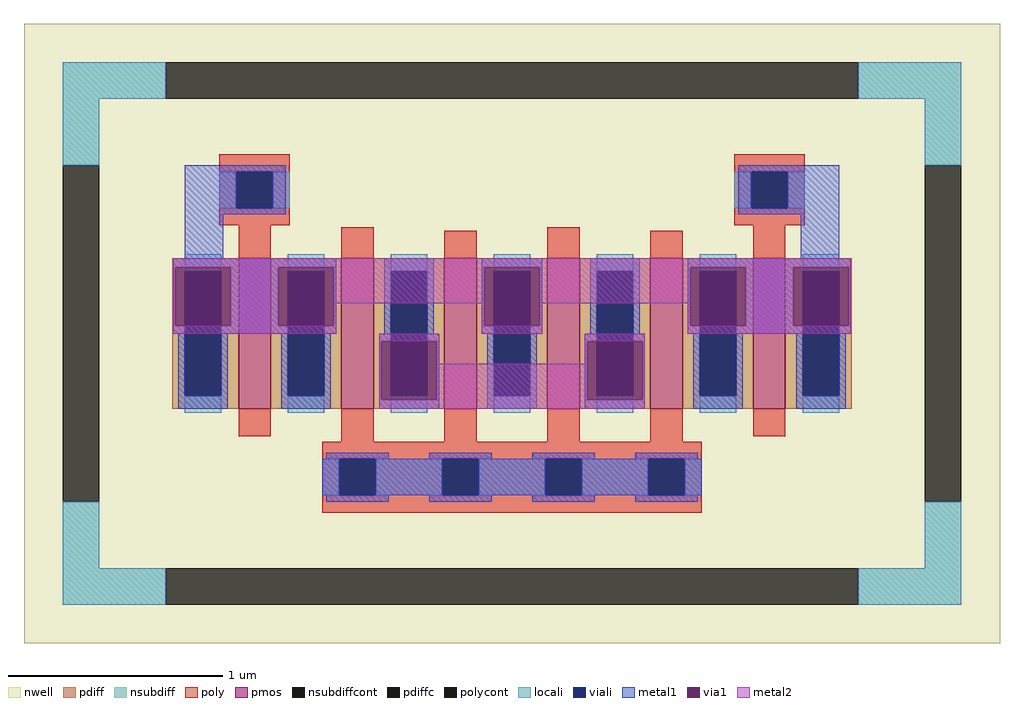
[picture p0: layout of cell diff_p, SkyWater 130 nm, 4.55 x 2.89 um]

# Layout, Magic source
magic
tech sky130A
magscale 1 2
<< nwell >>
rect -455 -289 455 289
<< pmos >>
rect -255 -70 -225 70
rect -159 -70 -129 70
rect -63 -70 -33 70
rect 33 -70 63 70
rect 129 -70 159 70
rect 225 -70 255 70
<< pdiff >>
rect -317 58 -255 70
rect -317 -58 -305 58
rect -271 -58 -255 58
rect -317 -70 -255 -58
rect -225 58 -159 70
rect -225 -58 -209 58
rect -175 -58 -159 58
rect -225 -70 -159 -58
rect -129 58 -63 70
rect -129 -58 -113 58
rect -79 -58 -63 58
rect -129 -70 -63 -58
rect -33 58 33 70
rect -33 -58 -17 58
rect 17 -58 33 58
rect -33 -70 33 -58
rect 63 58 129 70
rect 63 -58 79 58
rect 113 -58 129 58
rect 63 -70 129 -58
rect 159 58 225 70
rect 159 -58 175 58
rect 209 -58 225 58
rect 159 -70 225 -58
rect 255 58 317 70
rect 255 -58 271 58
rect 305 -58 317 58
rect 255 -70 317 -58
<< pdiffc >>
rect -305 -58 -271 58
rect -209 -58 -175 58
rect -113 -58 -79 58
rect -17 -58 17 58
rect 79 -58 113 58
rect 175 -58 209 58
rect 271 -58 305 58
<< nsubdiff >>
rect -419 219 -323 253
rect 323 219 419 253
rect -419 157 -385 219
rect 385 157 419 219
rect -419 -219 -385 -157
rect 385 -219 419 -157
rect -419 -253 -323 -219
rect 323 -253 419 -219
<< nsubdiffcont >>
rect -323 219 323 253
rect -419 -157 -385 157
rect 385 -157 419 157
rect -323 -253 323 -219
<< poly >>
rect -273 151 -207 167
rect -273 117 -257 151
rect -223 117 -207 151
rect -273 101 -207 117
rect 207 151 273 167
rect 207 117 223 151
rect 257 117 273 151
rect 207 101 273 117
rect -255 70 -225 101
rect -159 70 -129 99
rect -63 70 -33 96
rect 33 70 63 99
rect 129 70 159 96
rect 225 70 255 101
rect -255 -96 -225 -70
rect -159 -101 -129 -70
rect -63 -101 -33 -70
rect 33 -101 63 -70
rect 129 -101 159 -70
rect 225 -96 255 -70
rect -177 -117 177 -101
rect -177 -151 -161 -117
rect -127 -151 -65 -117
rect -31 -151 31 -117
rect 65 -151 127 -117
rect 161 -151 177 -117
rect -177 -167 177 -151
<< polycont >>
rect -257 117 -223 151
rect 223 117 257 151
rect -161 -151 -127 -117
rect -65 -151 -31 -117
rect 31 -151 65 -117
rect 127 -151 161 -117
<< locali >>
rect -419 219 -323 253
rect 323 219 419 253
rect -419 157 -385 219
rect 385 157 419 219
rect -273 117 -257 151
rect -223 117 -207 151
rect 207 117 223 151
rect 257 117 273 151
rect -305 58 -271 74
rect -305 -74 -271 -58
rect -209 58 -175 74
rect -209 -74 -175 -58
rect -113 58 -79 74
rect -113 -74 -79 -58
rect -17 58 17 74
rect -17 -74 17 -58
rect 79 58 113 74
rect 79 -74 113 -58
rect 175 58 209 74
rect 175 -74 209 -58
rect 271 58 305 74
rect 271 -74 305 -58
rect -177 -151 -161 -117
rect -127 -151 -65 -117
rect -31 -151 31 -117
rect 65 -151 127 -117
rect 161 -151 177 -117
rect -419 -219 -385 -157
rect 385 -219 419 -157
rect -419 -253 -323 -219
rect 323 -253 419 -219
<< viali >>
rect -257 117 -223 151
rect 223 117 257 151
rect -305 -58 -271 58
rect -209 -58 -175 58
rect -113 -58 -79 58
rect -17 -58 17 58
rect 79 -58 113 58
rect 175 -58 209 58
rect 271 -58 305 58
rect -161 -151 -127 -117
rect -65 -151 -31 -117
rect 31 -151 65 -117
rect 127 -151 161 -117
<< metal1 >>
rect -305 151 -211 157
rect -305 117 -257 151
rect -223 117 -211 151
rect -305 111 -211 117
rect 211 151 305 157
rect 211 117 223 151
rect 257 117 305 151
rect 211 111 305 117
rect -305 70 -269 111
rect 269 70 305 111
rect -316 62 -164 70
rect -316 7 -314 62
rect -262 7 -218 62
rect -166 7 -164 62
rect -316 0 -305 7
rect -311 -58 -305 0
rect -271 0 -209 7
rect -271 -58 -265 0
rect -311 -70 -265 -58
rect -215 -58 -209 0
rect -175 0 -164 7
rect -119 58 -73 70
rect -119 0 -113 58
rect -175 -58 -169 0
rect -215 -70 -169 -58
rect -124 -7 -113 0
rect -79 0 -73 58
rect -28 62 28 70
rect -28 7 -26 62
rect 26 7 28 62
rect -28 0 -17 7
rect -79 -7 -68 0
rect -124 -62 -122 -7
rect -70 -62 -68 -7
rect -124 -70 -68 -62
rect -23 -58 -17 0
rect 17 0 28 7
rect 73 58 119 70
rect 73 0 79 58
rect 17 -58 23 0
rect -23 -70 23 -58
rect 68 -7 79 0
rect 113 0 119 58
rect 164 62 316 70
rect 164 7 166 62
rect 218 7 262 62
rect 314 7 316 62
rect 164 0 175 7
rect 113 -7 124 0
rect 68 -62 70 -7
rect 122 -62 124 -7
rect 68 -70 124 -62
rect 169 -58 175 0
rect 209 0 271 7
rect 209 -58 215 0
rect 169 -70 215 -58
rect 265 -58 271 0
rect 305 0 316 7
rect 305 -58 311 0
rect 265 -70 311 -58
rect -173 -117 -115 -111
rect -77 -117 -19 -111
rect 19 -117 77 -111
rect 115 -117 173 -111
rect -177 -151 -161 -117
rect -127 -151 -65 -117
rect -31 -151 31 -117
rect 65 -151 127 -117
rect 161 -151 177 -117
rect -173 -157 -115 -151
rect -77 -157 -19 -151
rect 19 -157 77 -151
rect 115 -157 173 -151
<< via1 >>
rect -314 58 -262 62
rect -314 7 -305 58
rect -305 7 -271 58
rect -271 7 -262 58
rect -218 58 -166 62
rect -218 7 -209 58
rect -209 7 -175 58
rect -175 7 -166 58
rect -26 58 26 62
rect -26 7 -17 58
rect -17 7 17 58
rect 17 7 26 58
rect -122 -58 -113 -7
rect -113 -58 -79 -7
rect -79 -58 -70 -7
rect -122 -62 -70 -58
rect 166 58 218 62
rect 166 7 175 58
rect 175 7 209 58
rect 209 7 218 58
rect 262 58 314 62
rect 262 7 271 58
rect 271 7 305 58
rect 305 7 314 58
rect 70 -58 79 -7
rect 79 -58 113 -7
rect 113 -58 122 -7
rect 70 -62 122 -58
<< metal2 >>
rect -316 62 316 70
rect -316 7 -314 62
rect -262 7 -218 62
rect -166 28 -26 62
rect -166 7 -164 28
rect -316 0 -164 7
rect -28 7 -26 28
rect 26 28 166 62
rect 26 7 28 28
rect -28 0 28 7
rect 164 7 166 28
rect 218 7 262 62
rect 314 7 316 62
rect 164 0 316 7
rect -124 -7 -68 0
rect -124 -62 -122 -7
rect -70 -28 -68 -7
rect 68 -7 124 0
rect 68 -28 70 -7
rect -70 -62 70 -28
rect 122 -62 124 -7
rect -124 -70 124 -62
<< properties >>
string FIXED_BBOX -402 -236 402 236
string gencell sky130_fd_pr__pfet_01v8
string library sky130
string parameters w 0.7 l 0.15 m 1 nf 6 diffcov 100 polycov 100 guard 1 glc 1 grc 1 gtc 1 gbc 1 tbcov 100 rlcov 100 topc 1 botc 1 poverlap 0 doverlap 1 lmin 0.15 wmin 0.42 compatible {sky130_fd_pr__pfet_01v8  sky130_fd_pr__pfet_01v8_lvt sky130_fd_pr__pfet_01v8_hvt  sky130_fd_pr__pfet_g5v0d10v5} full_metal 1 viasrc 100 viadrn 100 viagate 100 viagb 0 viagr 0 viagl 0 viagt 0
<< end >>
